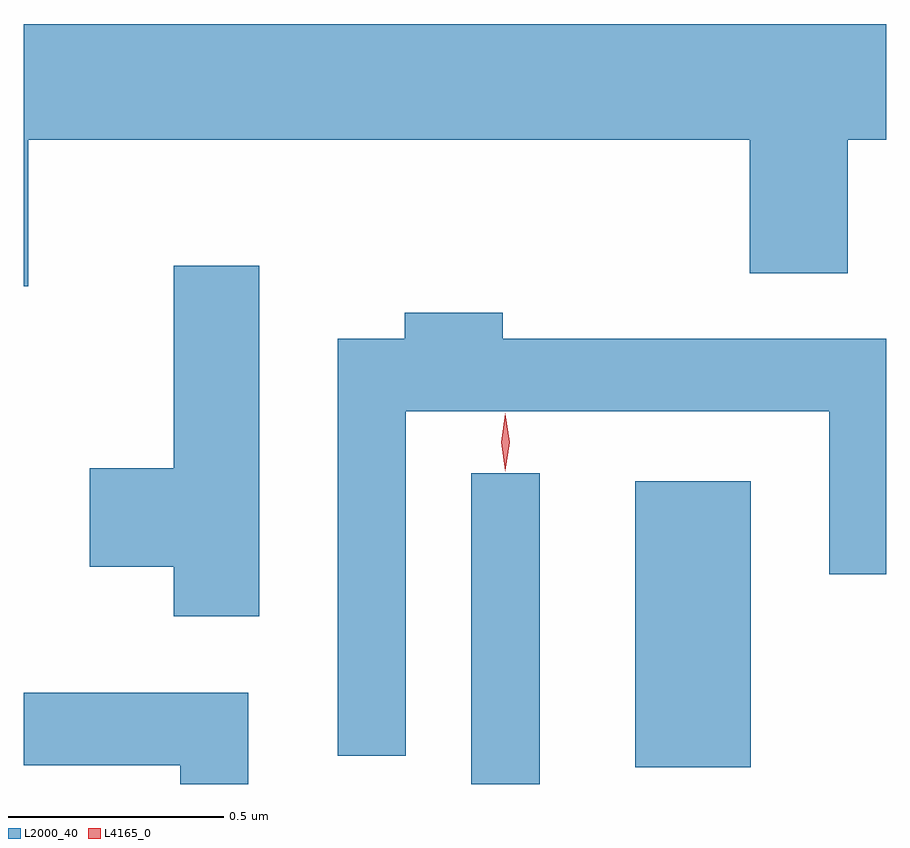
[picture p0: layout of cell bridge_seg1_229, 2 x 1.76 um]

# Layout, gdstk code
import gdstk
lib = gdstk.Library(unit=1e-6, precision=1e-09)
def R(c, l, rs):  # rectangles x0, y0, x1, y1
    for r in rs: c.add(gdstk.rectangle(r[:2], r[2:], *l))
def P(c, l, *ps):  # polygons
    for p in ps: c.add(gdstk.Polygon(p, *l))
L2000_40 = (2000, 40)
L4165_0 = (4165, 0)

bridge_seg1_229 = lib.new_cell('bridge_seg1_229')
R(bridge_seg1_229, L2000_40, [(816.126,884.762,816.284,885.483), (816.506,884.801,816.774,885.464)])
P(bridge_seg1_229, L2000_40, [(815.099,886.256),(816.771,886.256),(816.771,885.946),(816.999,885.946),(816.999,886.256),(817.088,886.256),(817.088,886.524),(815.088,886.524),(815.088,885.916),(815.099,885.916)],
  [(815.634,885.964),(815.436,885.964),(815.436,885.494),(815.241,885.494),(815.241,885.266),(815.436,885.266),(815.436,885.151),(815.634,885.151)],
  [(815.974,885.626),(816.956,885.626),(816.956,885.248),(817.088,885.248),(817.088,885.794),(816.199,885.794),(816.199,885.854),(815.971,885.854),(815.971,885.794),(815.816,885.794),(815.816,884.828),(815.974,884.828)],
  [(815.609,884.974),(815.088,884.974),(815.088,884.806),(815.451,884.806),(815.451,884.762),(815.609,884.762)])
P(bridge_seg1_229, L4165_0, [(816.205,885.487),(816.204,885.488),(816.195,885.554),(816.204,885.62),(816.205,885.621),(816.205,885.62),(816.215,885.554),(816.205,885.488)])

lib.write_gds('bridge_seg1_229.gds')
